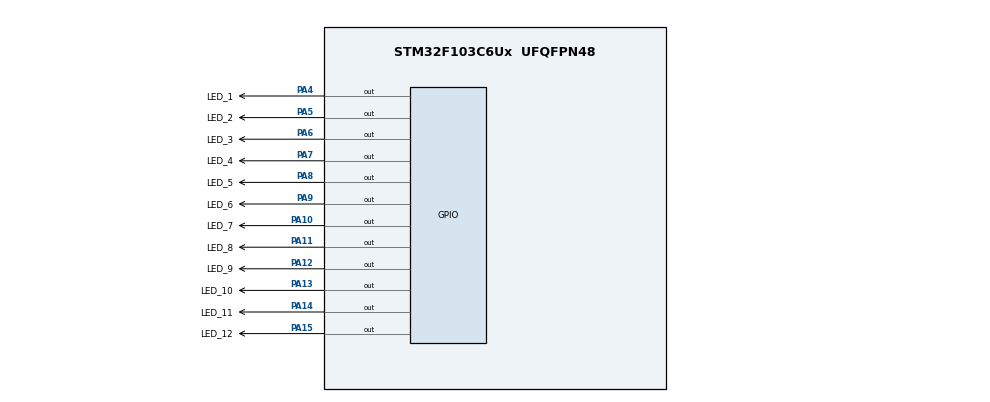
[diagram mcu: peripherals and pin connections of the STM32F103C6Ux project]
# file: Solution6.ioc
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Mcu.Family=STM32F1
Mcu.Name=STM32F103C6Ux
Mcu.Package=UFQFPN48
NVIC.PriorityGroup=NVIC_PRIORITYGROUP_4
PA10.GPIO_Label=LED_7
PA10.Signal=GPIO_Output
PA11.GPIO_Label=LED_8
PA11.Signal=GPIO_Output
PA12.GPIO_Label=LED_9
PA12.Signal=GPIO_Output
PA13.GPIO_Label=LED_10
PA13.Signal=GPIO_Output
PA14.GPIO_Label=LED_11
PA14.Signal=GPIO_Output
PA15.GPIO_Label=LED_12
PA15.Signal=GPIO_Output
PA4.GPIO_Label=LED_1
PA4.Signal=GPIO_Output
PA5.GPIO_Label=LED_2
PA5.Signal=GPIO_Output
PA6.GPIO_Label=LED_3
PA6.Signal=GPIO_Output
PA7.GPIO_Label=LED_4
PA7.Signal=GPIO_Output
PA8.GPIO_Label=LED_5
PA8.Signal=GPIO_Output
PA9.GPIO_Label=LED_6
PA9.Signal=GPIO_Output
ProjectManager.HeapSize=0x200
ProjectManager.StackSize=0x400
ProjectManager.TargetToolchain=STM32CubeIDE
RCC.APB1Freq_Value=8000000
RCC.APB2Freq_Value=8000000
VP_SYS_VS_ND.Mode=No_Debug
board=custom

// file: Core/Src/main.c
/* USER CODE BEGIN Header */
/**
  ******************************************************************************
  * @file           : main.c
  * @brief          : Main program body
  ******************************************************************************
  * @attention
  *
  * <h2><center>&copy; Copyright (c) 2022 STMicroelectronics.
  * All rights reserved.</center></h2>
  *
  * This software component is licensed by ST under BSD 3-Clause license,
  * the "License"; You may not use this file except in compliance with the
  * License. You may obtain a copy of the License at:
  *                        opensource.org/licenses/BSD-3-Clause
  *
  ******************************************************************************
  */
/* USER CODE END Header */
#include "main.h"

void SystemClock_Config(void);
static void MX_GPIO_Init(void);

int main(void)
{
  /* USER CODE BEGIN 1 */
  int count = 0;
  /* USER CODE END 1 */

  /* MCU Configuration--------------------------------------------------------*/

  /* Reset of all peripherals, Initializes the Flash interface and the Systick. */
  HAL_Init();

  /* Configure the system clock */
  SystemClock_Config();

  /* Initialize all configured peripherals */
  MX_GPIO_Init();

  /* Infinite loop */
  /* USER CODE BEGIN WHILE */
  while (1)
  {
	if(count == 24) count = 0;

	if(count == 12) HAL_GPIO_WritePin(LED_12_GPIO_Port, LED_12_Pin, RESET);
	if(count == 13) HAL_GPIO_WritePin(LED_1_GPIO_Port, LED_1_Pin, RESET);
	if(count == 14) HAL_GPIO_WritePin(LED_2_GPIO_Port, LED_2_Pin, RESET);
	if(count == 15) HAL_GPIO_WritePin(LED_3_GPIO_Port, LED_3_Pin, RESET);
	if(count == 16) HAL_GPIO_WritePin(LED_4_GPIO_Port, LED_4_Pin, RESET);
	if(count == 17) HAL_GPIO_WritePin(LED_5_GPIO_Port, LED_5_Pin, RESET);
	if(count == 18) HAL_GPIO_WritePin(LED_6_GPIO_Port, LED_6_Pin, RESET);
	if(count == 19) HAL_GPIO_WritePin(LED_7_GPIO_Port, LED_7_Pin, RESET);
	if(count == 20) HAL_GPIO_WritePin(LED_8_GPIO_Port, LED_8_Pin, RESET);
	if(count == 21) HAL_GPIO_WritePin(LED_9_GPIO_Port, LED_9_Pin, RESET);
	if(count == 22) HAL_GPIO_WritePin(LED_10_GPIO_Port, LED_10_Pin, RESET);
	if(count == 23) HAL_GPIO_WritePin(LED_11_GPIO_Port, LED_11_Pin, RESET);

	if(count == 0) HAL_GPIO_WritePin(LED_12_GPIO_Port, LED_12_Pin, SET);
	if(count == 1) HAL_GPIO_WritePin(LED_1_GPIO_Port, LED_1_Pin, SET);
	if(count == 2) HAL_GPIO_WritePin(LED_2_GPIO_Port, LED_2_Pin, SET);
	if(count == 3) HAL_GPIO_WritePin(LED_3_GPIO_Port, LED_3_Pin, SET);
	if(count == 4) HAL_GPIO_WritePin(LED_4_GPIO_Port, LED_4_Pin, SET);
	if(count == 5) HAL_GPIO_WritePin(LED_5_GPIO_Port, LED_5_Pin, SET);
	if(count == 6) HAL_GPIO_WritePin(LED_6_GPIO_Port, LED_6_Pin, SET);
	if(count == 7) HAL_GPIO_WritePin(LED_7_GPIO_Port, LED_7_Pin, SET);
	if(count == 8) HAL_GPIO_WritePin(LED_8_GPIO_Port, LED_8_Pin, SET);
	if(count == 9) HAL_GPIO_WritePin(LED_9_GPIO_Port, LED_9_Pin, SET);
	if(count == 10) HAL_GPIO_WritePin(LED_10_GPIO_Port, LED_10_Pin, SET);
	if(count == 11) HAL_GPIO_WritePin(LED_11_GPIO_Port, LED_11_Pin, SET);
	count++;

	HAL_Delay(1000);
    /* USER CODE END WHILE */

  }
}

void SystemClock_Config(void)
{
  RCC_OscInitTypeDef RCC_OscInitStruct = {0};
  RCC_ClkInitTypeDef RCC_ClkInitStruct = {0};

  /** Initializes the RCC Oscillators according to the specified parameters
  * in the RCC_OscInitTypeDef structure.
  */
  RCC_OscInitStruct.OscillatorType = RCC_OSCILLATORTYPE_HSI;
  RCC_OscInitStruct.HSIState = RCC_HSI_ON;
  RCC_OscInitStruct.HSICalibrationValue = RCC_HSICALIBRATION_DEFAULT;
  RCC_OscInitStruct.PLL.PLLState = RCC_PLL_NONE;
  if (HAL_RCC_OscConfig(&RCC_OscInitStruct) != HAL_OK)
  {
    Error_Handler();
  }
  /** Initializes the CPU, AHB and APB buses clocks
  */
  RCC_ClkInitStruct.ClockType = RCC_CLOCKTYPE_HCLK|RCC_CLOCKTYPE_SYSCLK
                              |RCC_CLOCKTYPE_PCLK1|RCC_CLOCKTYPE_PCLK2;
  RCC_ClkInitStruct.SYSCLKSource = RCC_SYSCLKSOURCE_HSI;
  RCC_ClkInitStruct.AHBCLKDivider = RCC_SYSCLK_DIV1;
  RCC_ClkInitStruct.APB1CLKDivider = RCC_HCLK_DIV1;
  RCC_ClkInitStruct.APB2CLKDivider = RCC_HCLK_DIV1;

  if (HAL_RCC_ClockConfig(&RCC_ClkInitStruct, FLASH_LATENCY_0) != HAL_OK)
  {
    Error_Handler();
  }
}

static void MX_GPIO_Init(void)
{
  GPIO_InitTypeDef GPIO_InitStruct = {0};

  /* GPIO Ports Clock Enable */
  __HAL_RCC_GPIOA_CLK_ENABLE();

  /*Configure GPIO pin Output Level */
  HAL_GPIO_WritePin(GPIOA, LED_1_Pin|LED_2_Pin|LED_3_Pin|LED_4_Pin
                          |LED_5_Pin|LED_6_Pin|LED_7_Pin|LED_8_Pin
                          |LED_9_Pin|LED_10_Pin|LED_11_Pin|LED_12_Pin, GPIO_PIN_RESET);

  /*Configure GPIO pins : LED_1_Pin LED_2_Pin LED_3_Pin LED_4_Pin
                           LED_5_Pin LED_6_Pin LED_7_Pin LED_8_Pin
                           LED_9_Pin LED_10_Pin LED_11_Pin LED_12_Pin */
  GPIO_InitStruct.Pin = LED_1_Pin|LED_2_Pin|LED_3_Pin|LED_4_Pin
                          |LED_5_Pin|LED_6_Pin|LED_7_Pin|LED_8_Pin
                          |LED_9_Pin|LED_10_Pin|LED_11_Pin|LED_12_Pin;
  GPIO_InitStruct.Mode = GPIO_MODE_OUTPUT_PP;
  GPIO_InitStruct.Pull = GPIO_NOPULL;
  GPIO_InitStruct.Speed = GPIO_SPEED_FREQ_LOW;
  HAL_GPIO_Init(GPIOA, &GPIO_InitStruct);

}

void Error_Handler(void)
{
  __disable_irq();
  while (1)
  {
  }
}

/************************ (C) COPYRIGHT STMicroelectronics *****END OF FILE****/
